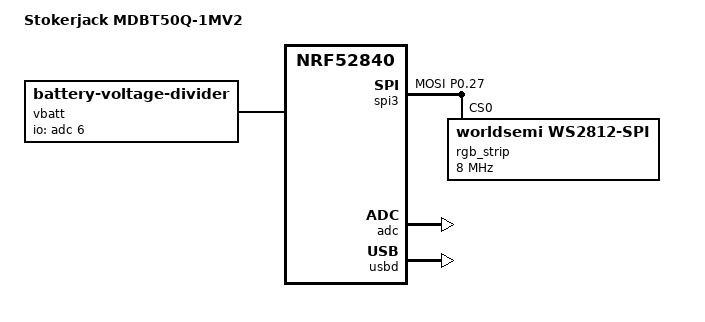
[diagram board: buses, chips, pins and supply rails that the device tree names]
/dts-v1/;
#include <nordic/nrf52840_qiaa.dtsi>
#include <zephyr/dt-bindings/gpio/gpio.h>
#include <zephyr/dt-bindings/led/led.h>
#include <zephyr/dt-bindings/pinctrl/nrf-pinctrl.h>

/ {
    model = "Stokerjack MDBT50Q-1MV2";
    compatible = "te9no,stokerjack";
    behaviors {
        sj_led: stokerjack_led {
            compatible = "te9no,stokerjack-led";
            #binding-cells = <0>;
        };
    };
    chosen {
        zephyr,sram = &sram0;
        zephyr,flash = &flash0;
        zephyr,code-partition = &application_partition;
        zmk,battery = &vbatt;
    };
    vbatt: vbatt {
        compatible = "zmk,battery-voltage-divider";
        io-channels = <&adc 6>; /* P0.30 / AIN6, revised PCB only */
        output-ohms = <470000>;
        full-ohms = <1470000>;
        mv-to-pct-thresholds = <2200 2300 2400 2440 2480 2520 2560 2600 2640 2700 2800>;
    };
};
&flash0 {
    partitions {
        compatible = "fixed-partitions";
        #address-cells = <1>;
        #size-cells = <1>;
        sd_partition: partition@0 { reg = <0x0 0x26000>; };
        application_partition: partition@26000 {
            label = "application";
            reg = <0x26000 0xc6000>;
        };
        boot_partition: partition@f4000 { reg = <0xf4000 0xc000>; };
        storage_partition: partition@ec000 {
            label = "storage";
            reg = <0xec000 0x8000>;
        };
    };
};
&uicr {
    gpio-as-nreset;
};
&reg0 {
    status = "disabled";
};
&reg1 {
    regulator-initial-mode = <NRF5X_REG_MODE_DCDC>;
};
&gpiote {
    status = "okay";
};
&gpio0 {
    status = "okay";
};
&gpio1 {
    status = "okay";
};
&pinctrl {
    led_default: led_default {
        group1 {
            psels = <NRF_PSEL(SPIM_MOSI, 0, 27)>;
        };
    };
    led_sleep: led_sleep {
        group1 {
            psels = <NRF_PSEL(SPIM_MOSI, 0, 27)>;
            low-power-enable;
        };
    };
};
&spi3 {
    status = "okay";
    pinctrl-0 = <&led_default>;
    pinctrl-1 = <&led_sleep>;
    pinctrl-names = "default", "sleep";
    rgb_strip: led_strip@0 {
        compatible = "worldsemi,ws2812-spi";
        reg = <0>;
        spi-max-frequency = <8000000>;
        spi-zero-frame = <0xc0>; /* 0.25us high / 0.75us low */
        spi-one-frame = <0xfc>; /* 0.75us high / 0.25us low */
        reset-delay = <80>;
        chain-length = <4>;
        color-mapping = <LED_COLOR_ID_GREEN LED_COLOR_ID_RED LED_COLOR_ID_BLUE>;
    };
};
&adc {
    status = "okay";
};
zephyr_udc0: &usbd {
    status = "okay";
};
